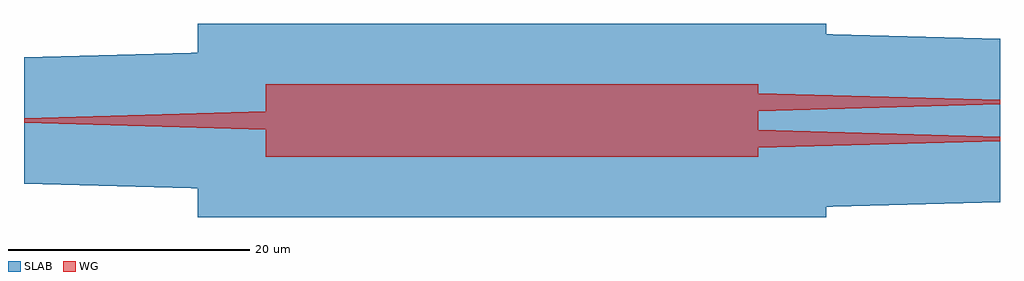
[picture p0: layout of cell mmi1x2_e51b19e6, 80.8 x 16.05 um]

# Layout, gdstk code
import gdstk
lib = gdstk.Library(unit=1e-6, precision=1e-09)
def R(c, l, rs):  # rectangles x0, y0, x1, y1
    for r in rs: c.add(gdstk.rectangle(r[:2], r[2:], *l))
def P(c, l, *ps):  # polygons
    for p in ps: c.add(gdstk.Polygon(p, *l))
WG = (3, 0)
SLAB = (5, 0)

mmi1x2_e51b19e6 = lib.new_cell('mmi1x2_e51b19e6')
R(mmi1x2_e51b19e6, WG, [(0,-3,40.8,3)])
P(mmi1x2_e51b19e6, WG, [(-20,0.2),(0,0.75),(0,-0.75),(-20,-0.2)],
  [(60.8,1.325),(40.8,0.775),(40.8,2.275),(60.8,1.725)],
  [(60.8,-1.725),(40.8,-2.275),(40.8,-0.775),(60.8,-1.325)])
R(mmi1x2_e51b19e6, SLAB, [(-5.6,-8.025,46.4,8.025)])
P(mmi1x2_e51b19e6, SLAB, [(-20,5.225),(0,5.775),(0,-5.775),(-20,-5.225)],
  [(60.8,-3.7),(40.8,-4.25),(40.8,7.3),(60.8,6.75)],
  [(60.8,-6.75),(40.8,-7.3),(40.8,4.25),(60.8,3.7)])

lib.write_gds('mmi1x2_e51b19e6.gds')
